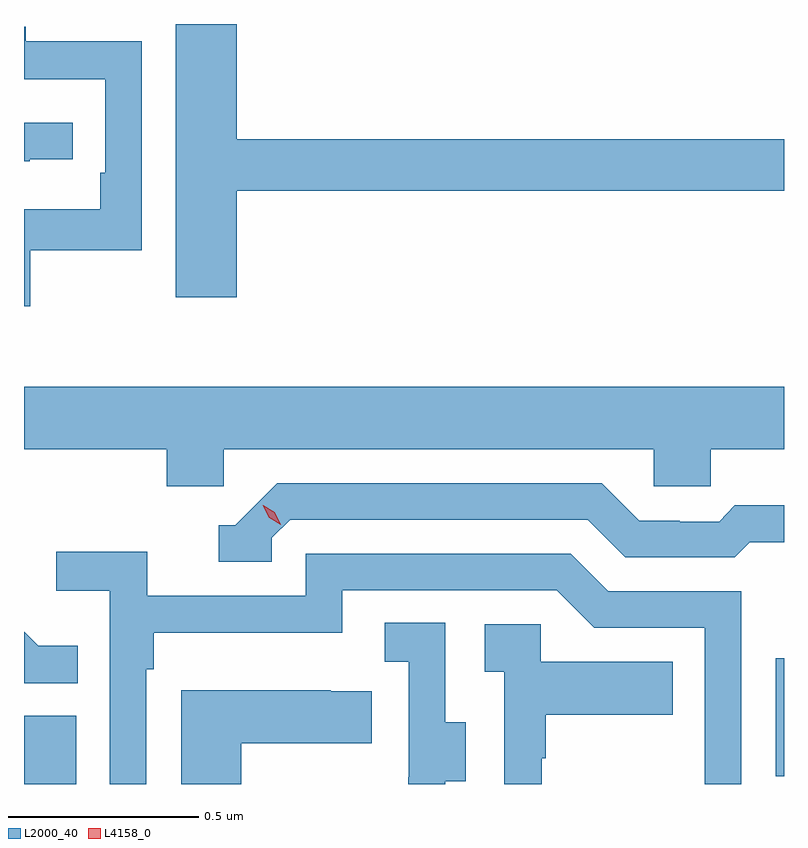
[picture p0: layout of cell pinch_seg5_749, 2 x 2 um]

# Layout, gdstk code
import gdstk
lib = gdstk.Library(unit=1e-6, precision=1e-09)
def R(c, l, rs):  # rectangles x0, y0, x1, y1
    for r in rs: c.add(gdstk.rectangle(r[:2], r[2:], *l))
def P(c, l, *ps):  # polygons
    for p in ps: c.add(gdstk.Polygon(p, *l))
L2000_40 = (2000, 40)
L4158_0 = (4158, 0)

pinch_seg5_749 = lib.new_cell('pinch_seg5_749')
R(pinch_seg5_749, L2000_40, [(866.006,899.835,866.143,900.015), (867.984,899.856,868.006,900.166)])
P(pinch_seg5_749, L2000_40, [(866.566,901.396),(868.006,901.396),(868.006,901.532),(866.566,901.532),(866.566,901.835),(866.405,901.835),(866.405,901.116),(866.566,901.116)],
  [(866.023,901.239),(866.316,901.239),(866.316,901.79),(866.011,901.79),(866.011,901.828),(866.006,901.828),(866.006,901.689),(866.22,901.689),(866.22,901.444),(866.207,901.444),(866.207,901.348),(866.006,901.348),(866.006,901.092),(866.023,901.092)],
  [(866.021,901.479),(866.134,901.479),(866.134,901.575),(866.006,901.575),(866.006,901.474),(866.021,901.474)],
  [(866.006,900.716),(866.381,900.716),(866.381,900.618),(866.532,900.618),(866.532,900.716),(867.663,900.716),(867.663,900.618),(867.813,900.618),(867.813,900.716),(868.006,900.716),(868.006,900.88),(866.006,900.88)],
  [(866.658,900.483),(866.706,900.531),(867.489,900.531),(867.588,900.432),(867.877,900.432),(867.916,900.471),(868.006,900.471),(868.006,900.568),(867.877,900.568),(867.835,900.525),(867.732,900.525),(867.732,900.528),(867.625,900.528),(867.526,900.627),(866.673,900.627),(866.562,900.516),(866.519,900.516),(866.519,900.42),(866.658,900.42)],
  [(866.328,900.137),(866.348,900.137),(866.348,900.233),(866.844,900.233),(866.844,900.345),(867.408,900.345),(867.507,900.246),(867.798,900.246),(867.798,899.835),(867.894,899.835),(867.894,900.342),(867.544,900.342),(867.445,900.441),(866.748,900.441),(866.748,900.33),(866.33,900.33),(866.33,900.446),(866.091,900.446),(866.091,900.344),(866.232,900.344),(866.232,899.835),(866.328,899.835)],
  [(867.115,899.842),(867.169,899.842),(867.169,899.997),(867.114,899.997),(867.114,900.26),(866.955,900.26),(866.955,900.157),(867.018,900.157),(867.018,899.853),(867.017,899.853),(867.017,899.835),(867.115,899.835)],
  [(867.369,899.903),(867.379,899.903),(867.379,900.017),(867.713,900.017),(867.713,900.157),(867.366,900.157),(867.366,900.255),(867.219,900.255),(867.219,900.131),(867.27,900.131),(867.27,899.835),(867.369,899.835)],
  [(866.147,900.199),(866.043,900.199),(866.006,900.236),(866.006,900.1),(866.147,900.1)],
  [(866.578,899.942),(866.921,899.942),(866.921,900.079),(866.813,900.079),(866.813,900.082),(866.42,900.082),(866.42,899.835),(866.578,899.835)])
P(pinch_seg5_749, L4158_0, [(866.682,900.517),(866.651,900.536),(866.634,900.568),(866.634,900.569),(866.635,900.569),(866.666,900.55),(866.682,900.517),(866.682,900.517)])

lib.write_gds('pinch_seg5_749.gds')
